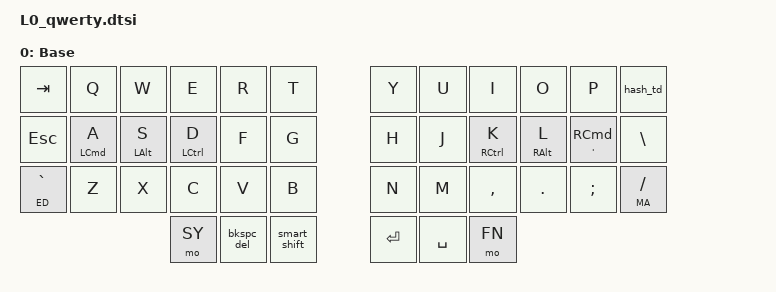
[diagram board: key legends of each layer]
/**
 * Alpha Layer - QWERTY (Base)
 * Optimized for developer workflow with quick access to common keys
 */

/ {
  keymap {
    compatible = "zmk,keymap";

    qwerty_layer {
      display-name = "Base";
      bindings = <
// ╭───────────────┬───────────────┬───────────────┬───────────────┬───────────────┬───────────────╮   ╭───────────────┬───────────────┬───────────────┬───────────────┬───────────────┬───────────────╮
// │0              │1              │2              │3              │4              │5              │   │6              │7              │8              │9              │10             │11             │
    &kp TAB         &kp Q           &kp W           &kp E           &kp R           &kp T               &kp Y           &kp U           &kp I           &kp O           &kp P           &hash_td
// ├───────────────├───────────────┼───────────────┼───────────────┼───────────────┼───────────────┤   ├───────────────├───────────────┼───────────────┼───────────────┼───────────────┼───────────────┤
// │12             │13             │14             │15             │16             │17             │   │18             │19             │20             │21             │22             │23             │
    &kp ESC         &hrml LCMD A    &hrml LALT S    &hrml LCTRL D   &kp F           &kp G               &kp H           &kp J           &hrmr RCTRL K   &hrmr RALT L    &hrmr SQT RCMD  &kp BSLH
// ├───────────────├───────────────┼───────────────┼───────────────┼───────────────┼───────────────┤   ├───────────────├───────────────┼───────────────┼───────────────┼───────────────┼───────────────┤
// │24             │25             │26             │27             │28             │29             │   │30             │31             │32             │33             │34             │35             │
    &lt ED GRAVE    &kp Z           &kp X           &kp C           &kp V           &kp B               &kp N           &kp M           &kp COMMA       &kp DOT         &kp SEMICOLON   &lt MA SLASH
// ╰───────────────┴───────────────┴───────────────┼───────────────┼───────────────┼───────────────┤   ├───────────────├───────────────┼───────────────┼───────────────┴───────────────┴───────────────╯
//                                                 │36             │37             │38             │   │39             │40             │41             │
                                                    &mo SY          &bkspc_del      &smart_shift        &kp ENTER       &kp SPACE       &mo FN
//                                                 ╰───────────────┴───────────────┴───────────────╯   ╰───────────────┴───────────────┴───────────────╯
      >;
    };
  };
};
